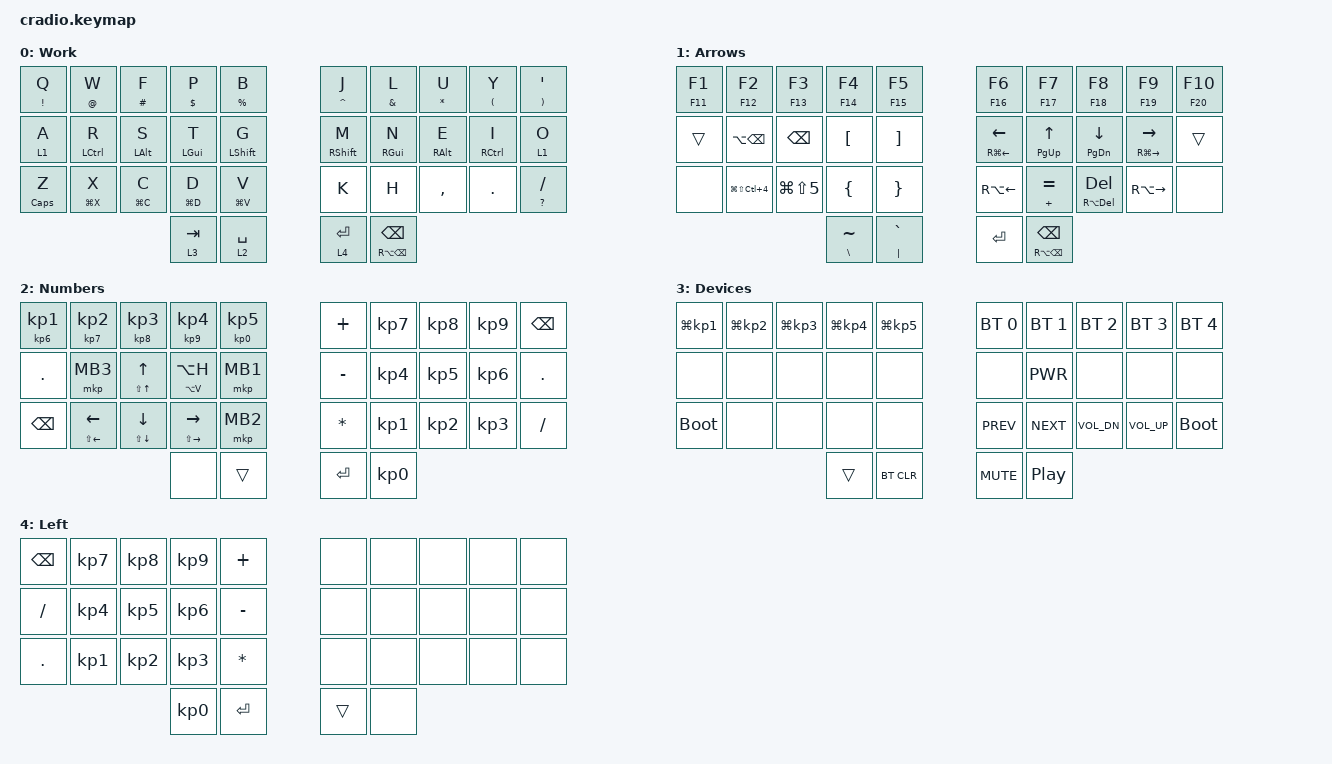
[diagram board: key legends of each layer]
// Copyright (c) 2022 The ZMK Contributors
// SPDX-License-Identifier: MIT

#include <behaviors.dtsi>
#include <dt-bindings/zmk/keys.h>
#include <dt-bindings/zmk/bt.h>
#include <dt-bindings/zmk/mouse.h>

#define Work     0
#define Arrows   1
#define Numbers  2
#define Devices  3
#define Left     4

/ { 
     combos {
        compatible = "zmk,combos";
        esc {
            timeout-ms = <30>;
            key-positions = <1 2>;
            bindings = <&kp ESC>;   
        };
        subtitle {
            timeout-ms = <30>;
            key-positions = <1 2 3>;
            bindings = <&to 4>;
        };
        back_to_start {
            timeout-ms = <30>;
            key-positions = <1 3>;
            bindings = <&to 0>;   
        };
        tab_right {
            timeout-ms = <30>;
            key-positions = <23 24>;
            bindings = <&kp LG(LA(RIGHT))>;
        };
        tab_left {
            timeout-ms = <30>;
            key-positions = <21 22>;
            bindings = <&kp LG(LA(LEFT))>;
        };
        clicking {
            timeout-ms = <50>;
            key-positions = <11 12 13>;
            bindings = <&kp LG(LA(X))>;
        };
        scrolling {
            timeout-ms = <50>;
            key-positions = <16 17 18>;
            bindings = <&kp LG(LS(U))>;
        };
        english {
            timeout-ms = <25>;
            key-positions = <17 18>;
            bindings = <&kp LANG2>;
        };
        nihongo {
            timeout-ms = <25>;
            key-positions = <7 8>;
            bindings = <&kp LANG1>;
        };
        windows {
            timeout-ms = <50>;
            key-positions = <1 8>;
            bindings = <&kp LC(DOWN)>;
        };
        combo_BACK {
            timeout-ms = <30>;
            key-positions = <11 13>;
            bindings = <&kp LG(LBKT)>;
        };
        combo_FORWARD {
            timeout-ms = <30>;
            key-positions = <11 12>;
            bindings = <&kp LG(RBKT)>;
        };
        combo_undo {
            timeout-ms = <30>;
            key-positions = <21 23>;
            bindings = <&kp LG(Z)>;
        };
        spotlight {
            timeout-ms = <30>;
            key-positions = <26 27 28>;
            bindings = <&kp LG(SPACE)>;
        };
        combo_COLON {
            timeout-ms = <30>;
            key-positions = <13 24>;
            bindings = <&kp COLON>;
        };
        combo_SEMI {
            timeout-ms = <30>;
            key-positions = <16 25>;
            bindings = <&kp SEMI>;
        };
        app_swap {
            timeout-ms = <30>;
            key-positions = <22 23>;
            bindings = <&kp LG(TAB)>;
        };
	    window_swap {
            timeout-ms = <30>;
            key-positions = <21 22 23>;
            bindings = <&kp LG(GRAVE)>;
        };
	    combo_HOME {
            timeout-ms = <25>;
            key-positions = <26 27>;
            bindings = <&kp HOME>;
        };
	    combo_END {
            timeout-ms = <25>;
            key-positions = <27 28>;
            bindings = <&kp END>;
        };
        combo_UNDER {
            timeout-ms = <50>;
            key-positions = <21 28>;
            bindings = <&kp UNDER>;
        };
        combo_MINUS {
            timeout-ms = <50>;
            key-positions = <22 27>;
            bindings = <&kp MINUS>;
        };
        space {
            timeout-ms = <50>;
            key-positions = <14 24>;
            bindings = <&kp SPACE>;
        };
        return {
            timeout-ms = <50>;
            key-positions = <13 14>;
            bindings = <&kp RET>;
        };
   };
   behaviors {
         hm: homerow_mods {
            compatible = "zmk,behavior-hold-tap";
            label = "HOMEROW_MODS";
            #binding-cells = <2>;
            tapping-term-ms = <220>;
            quick-tap-ms = <0>;
            flavor = "tap-preferred";
            bindings = <&kp>, <&kp>;
        };
        td: tapdance {
            compatible = "zmk,behavior-hold-tap";
            label = "TAPDANCE";
            #binding-cells = <2>;
            tapping-term-ms = <200>;
            quick_tap_ms = <0>;
            flavor = "tap-preferred";
            bindings = <&kp>, <&kp>;
        };
   };

       keymap {
                compatible = "zmk,keymap";

                Work {
                        bindings = <
       &td EXCL Q       &td AT W     &td HASH F      &td DLLR P            &td PRCNT B         &td CARET J   &td AMPS L    &td STAR U     &td LPAR Y    &td RPAR SQT
       &lt 1 A          &hm LCTRL R  &hm LALT S      &hm LGUI T            &hm LSHFT G         &hm RSHIFT M  &hm RGUI N    &hm RALT E     &hm RCTRL I   &lt 1 O
       &td CAPS Z       &td LG(X) X  &td LG(C) C     &td LG(D) D           &td LG(V) V         &kp K         &kp H         &kp COMMA      &kp DOT       &td QMARK FSLH
                                                     &lt 3 TAB             &lt 2 SPACE       &lt 4 RET     &td RA(BSPC) BSPC
                        >;
                };
                Arrows {
                        bindings = <
       &td F11 F1        &td F12 F2           &td F13 F3        &td F14 F4       &td F15 F5         &td F16 F6         &td F17 F7         &td F18 F8       &td F19 F9           &td F20 F10
       &trans            &kp LA(BSPC)         &kp BSPC          &kp LBKT         &kp RBKT           &td RG(LEFT) LEFT  &td PG_UP UP       &td PG_DN DOWN   &td RG(RIGHT) RIGHT  &trans
       &none             &kp LG(LS(LC(N4)))   &kp LG(LS(N5))    &kp LBRC         &kp RBRC           &kp RA(LEFT)       &td PLUS EQUAL     &td RA(DEL) DEL  &kp RA(RIGHT)        &none
                                                                &td BSLH TILDE  &td PIPE GRAVE       &kp RET           &td RA(BSPC) BSPC 
                        >;
                };
            
                Numbers {
                        bindings = <
       &td KP_N6 KP_N1  &td KP_N7 KP_N2     &td KP_N8 KP_N3    &td KP_N9 KP_N4       &td KP_N0 KP_N5       &kp PLUS   &kp KP_N7   &kp KP_N8     &kp KP_N9  &kp BSPC
       &kp DOT         &mkp MB3             &td LS(UP) UP      &td LA(V) LA(H)       &mkp MB1              &kp MINUS  &kp KP_N4   &kp KP_N5     &kp KP_N6  &kp DOT
       &kp BSPC        &td LS(LEFT) LEFT    &td LS(DOWN) DOWN  &td LS(RIGHT) RIGHT   &mkp MB2              &kp STAR   &kp KP_N1   &kp KP_N2     &kp KP_N3  &kp FSLH
                                                          &none                 &trans                &kp RET    &kp KP_N0
                        >;
                };

		Devices {
			bindings = <
        &kp LG(KP_N1)  &kp LG(KP_N2)    &kp LG(KP_N3)   &kp LG(KP_N4)    &kp LG(KP_N5)        &bt BT_SEL 0   &bt BT_SEL 1   &bt BT_SEL 2    &bt BT_SEL 3     &bt BT_SEL 4
        &none          &none            &none           &none            &none                &none          &kp C_PWR      &none           &none            &none
        &bootloader    &none            &none           &none            &none                &kp C_PREV     &kp C_NEXT     &kp C_VOL_DN    &kp C_VOL_UP     &bootloader
                                                        &trans           &bt BT_CLR           &kp C_MUTE     &kp C_PP
			>;
		};

        Left {
			bindings = <
        &kp BSPC     &kp KP_N7       &kp KP_N8      &kp KP_N9     &kp PLUS         &none   &none  &none  &none   &none
        &kp FSLH     &kp KP_N4       &kp KP_N5      &kp KP_N6     &kp MINUS        &none   &none  &none  &none   &none
        &kp DOT      &kp KP_N1       &kp KP_N2      &kp KP_N3     &kp STAR         &none   &none  &none  &none   &none
                                                    &kp KP_N0     &kp RET          &trans  &none
			>;
		};
     };
};
